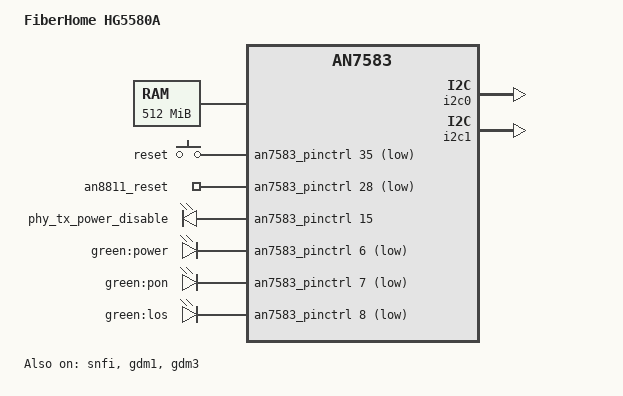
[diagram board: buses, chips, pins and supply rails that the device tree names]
// SPDX-License-Identifier: (GPL-2.0-only OR BSD-2-Clause)
/*
 * FiberHome HG5580A - Airoha AN7583 ONU
 *
 * Hardware notes relevant to U-Boot:
 *   SoC        Airoha AN7583 (2x Cortex-A53), 512 MiB DDR
 *   NAND       Gigadevice S35ML02G3 SPI-NAND, 256 MiB, 2 KiB page, 128 B OOB
 *   Serial     UART1 at 0x1fbf0000, 115200 8N1
 *   PHY        Motorcomm YT8821 2.5G on lan1 (gdm3, MDIO 0x07)
 *              MediaTek MT7530 switch on lan2..lan4 (gdm1)
 *   Optical    Airoha UX3363 (paged BOSA, I2C 0x51)
 *
 * The generic U-Boot layout differs from the stock vendor one: BL2 lives in
 * the first eraseblock and everything else (including the FIP) is inside a
 * single "ubi" volume set, which is what the Web recovery and Install System
 * paths expect.
 */
/dts-v1/;

#include <dt-bindings/leds/common.h>
#include <dt-bindings/gpio/gpio.h>
#include <dt-bindings/input/input.h>
#include "an7583.dtsi"

/ {
	model = "FiberHome HG5580A";
	compatible = "fiberhome,hg5580a-ubi", "airoha,an7583";

	chosen {
		bootargs = "console=ttyS0,115200 earlycon";
		stdout-path = "serial0:115200n8";
		/*
		 * Leave the first 2 MiB to the secure firmware at 0x80000000
		 * (reserved in an7583.dtsi as atf@) and give Linux the rest.
		 */
		linux,usable-memory-range = <0x0 0x80200000 0x0 0x1fe00000>;
	};

	memory@80000000 {
		device_type = "memory";
		reg = <0x0 0x80000000 0x0 0x20000000>;
	};

	keys {
		compatible = "gpio-keys";

		button-reset {
			label = "reset";
			linux,code = <KEY_RESTART>;
			gpios = <&an7583_pinctrl 35 GPIO_ACTIVE_LOW>;
			debounce-interval = <60>;
		};
	};

	leds {
		compatible = "gpio-leds";

		/*
		 * These two are not indicators: they hold the YT8821 2.5G PHY
		 * out of reset / powered.  The names are inherited from the
		 * vendor device tree (which still says "an8811") and the
		 * inverted polarity is intentional -- see the long comment in
		 * the Linux DTS for the full explanation.
		 */
		phy_reset {
			label = "an8811_reset";
			gpios = <&an7583_pinctrl 28 GPIO_ACTIVE_LOW>;
			default-state = "off";
		};

		phy_tx_power_disable {
			label = "phy_tx_power_disable";
			gpios = <&an7583_pinctrl 15 GPIO_ACTIVE_HIGH>;
			default-state = "on";
		};

		/* Real front-panel LEDs. */
		led_status {
			label = "green:power";
			gpios = <&an7583_pinctrl 6 GPIO_ACTIVE_LOW>;
			default-state = "off";
		};

		led_pon {
			label = "green:pon";
			gpios = <&an7583_pinctrl 7 GPIO_ACTIVE_LOW>;
			default-state = "off";
		};

		led_los {
			label = "green:los";
			gpios = <&an7583_pinctrl 8 GPIO_ACTIVE_LOW>;
			default-state = "off";
		};
	};
};

/*
 * SPI-NAND.  U-Boot owns the whole flash through one "ubi" partition; BL2 is
 * the only thing addressed directly at offset 0.
 */
&snfi {
	status = "okay";
};

&spi_nand {
	partitions {
		compatible = "fixed-partitions";
		#address-cells = <1>;
		#size-cells = <1>;

		partition@0 {
			label = "bl2";
			reg = <0x0 0x20000>;
		};

		partition@20000 {
			label = "ubi";
			reg = <0x20000 0xffe0000>;
		};
	};
};

/* UX3363 paged BOSA and the factory EEPROM sit on i2c0. */
&i2c0 {
	status = "okay";
};

&i2c1 {
	status = "okay";
};

/*
 * gdm1 is the MT7530 switch CPU port; gdm3 is the YT8821 2.5G port on lan1.
 * Both are needed for the U-Boot network stack, which the Web recovery and
 * TFTP paths use.
 */
&gdm1 {
	status = "okay";
};

&gdm3 {
	status = "okay";
};
